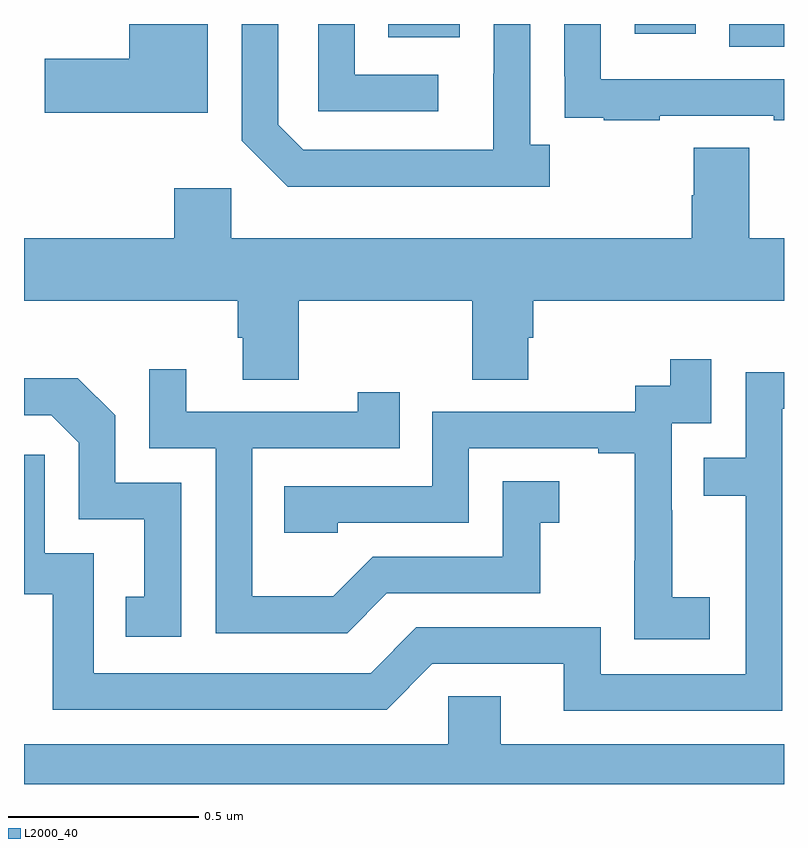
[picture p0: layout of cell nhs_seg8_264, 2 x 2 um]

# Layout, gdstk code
import gdstk
lib = gdstk.Library(unit=1e-6, precision=1e-09)
def R(c, l, rs):  # rectangles x0, y0, x1, y1
    for r in rs: c.add(gdstk.rectangle(r[:2], r[2:], *l))
def P(c, l, *ps):  # polygons
    for p in ps: c.add(gdstk.Polygon(p, *l))
L2000_40 = (2000, 40)

nhs_seg8_264 = lib.new_cell('nhs_seg8_264')
R(nhs_seg8_264, L2000_40, [(115.856,1111.84,116,1111.9), (114.959,1111.865,115.147,1111.9), (115.607,1111.875,115.768,1111.9)])
P(nhs_seg8_264, L2000_40, [(115.384,1111.582),(115.332,1111.582),(115.332,1111.9),(115.236,1111.9),(115.236,1111.769),(115.235,1111.769),(115.235,1111.569),(114.735,1111.569),(114.669,1111.635),(114.669,1111.9),(114.573,1111.9),(114.573,1111.593),(114.694,1111.472),(115.384,1111.472)],
  [(115.673,1111.659),(115.973,1111.659),(115.973,1111.647),(116,1111.647),(116,1111.755),(115.518,1111.755),(115.518,1111.9),(115.422,1111.9),(115.422,1111.762),(115.423,1111.762),(115.423,1111.653),(115.525,1111.653),(115.525,1111.647),(115.673,1111.647)],
  [(114.484,1111.9),(114.277,1111.9),(114.277,1111.808),(114.054,1111.808),(114.054,1111.666),(114.484,1111.666)],
  [(115.09,1111.767),(114.87,1111.767),(114.87,1111.9),(114.774,1111.9),(114.774,1111.671),(115.09,1111.671)],
  [(114.723,1111.172),(115.18,1111.172),(115.18,1110.964),(115.327,1110.964),(115.327,1111.074),(115.34,1111.074),(115.34,1111.172),(116,1111.172),(116,1111.336),(115.909,1111.336),(115.909,1111.574),(115.762,1111.574),(115.762,1111.449),(115.757,1111.449),(115.757,1111.336),(114.546,1111.336),(114.546,1111.468),(114.395,1111.468),(114.395,1111.336),(114,1111.336),(114,1111.172),(114.563,1111.172),(114.563,1111.074),(114.575,1111.074),(114.575,1110.964),(114.723,1110.964)],
  [(115.804,1110.391),(115.706,1110.391),(115.706,1110.62),(115.704,1110.62),(115.704,1110.849),(115.809,1110.849),(115.809,1111.018),(115.701,1111.018),(115.701,1110.948),(115.608,1110.948),(115.608,1110.879),(115.074,1110.879),(115.074,1110.684),(114.685,1110.684),(114.685,1110.561),(114.825,1110.561),(114.825,1110.588),(115.17,1110.588),(115.17,1110.783),(115.511,1110.783),(115.511,1110.771),(115.607,1110.771),(115.607,1110.487),(115.606,1110.487),(115.606,1110.281),(115.804,1110.281)],
  [(114.955,1110.402),(115.359,1110.402),(115.359,1110.587),(115.408,1110.587),(115.408,1110.697),(115.26,1110.697),(115.26,1110.498),(114.918,1110.498),(114.814,1110.394),(114.6,1110.394),(114.6,1110.783),(114.989,1110.783),(114.989,1110.931),(114.878,1110.931),(114.878,1110.879),(114.427,1110.879),(114.427,1110.991),(114.33,1110.991),(114.33,1110.783),(114.504,1110.783),(114.504,1110.297),(114.85,1110.297)],
  [(115.995,1110.888),(116,1110.888),(116,1110.984),(115.899,1110.984),(115.899,1110.759),(115.789,1110.759),(115.789,1110.658),(115.899,1110.658),(115.899,1110.189),(115.518,1110.189),(115.518,1110.312),(115.032,1110.312),(114.912,1110.192),(114.183,1110.192),(114.183,1110.507),(114.054,1110.507),(114.054,1110.766),(114,1110.766),(114,1110.399),(114.075,1110.399),(114.075,1110.096),(114.954,1110.096),(115.074,1110.216),(115.421,1110.216),(115.421,1110.093),(115.995,1110.093)],
  [(114.414,1110.693),(114.24,1110.693),(114.24,1110.87),(114.142,1110.968),(114,1110.968),(114,1110.87),(114.072,1110.87),(114.144,1110.798),(114.144,1110.597),(114.317,1110.597),(114.317,1110.393),(114.268,1110.393),(114.268,1110.288),(114.414,1110.288)],
  [(116,1110.004),(115.255,1110.004),(115.255,1110.131),(115.116,1110.131),(115.116,1110.004),(114,1110.004),(114,1109.9),(116,1109.9)])

lib.write_gds('nhs_seg8_264.gds')
